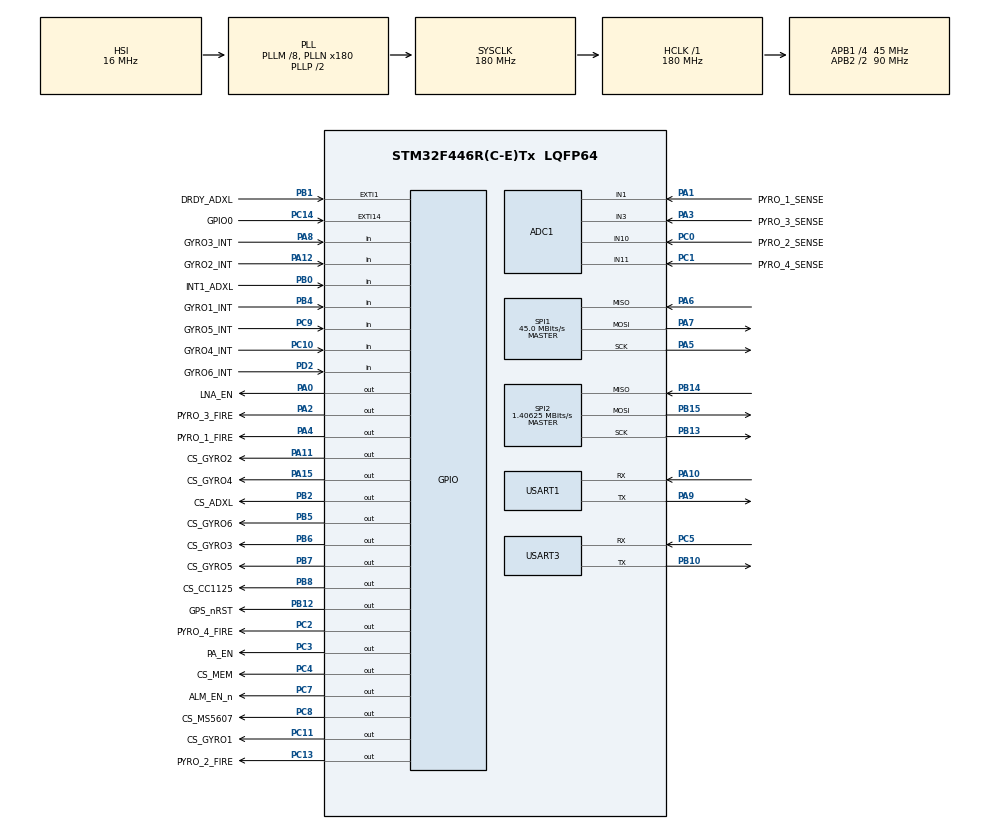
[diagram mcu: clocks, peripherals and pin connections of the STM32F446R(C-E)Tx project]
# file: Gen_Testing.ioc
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ADC1.Channel-244\#ChannelRegularConversion=ADC_CHANNEL_3
ADC1.NbrOfConversionFlag=1
ADC1.Rank-244\#ChannelRegularConversion=1
ADC1.SamplingTime-244\#ChannelRegularConversion=ADC_SAMPLETIME_3CYCLES
ADC1.master=1
Mcu.Family=STM32F4
Mcu.Name=STM32F446R(C-E)Tx
Mcu.Package=LQFP64
NVIC.EXTI1_IRQn=true\:3\:0\:true\:false\:true\:true
NVIC.PriorityGroup=NVIC_PRIORITYGROUP_2
PA0-WKUP.GPIO_Label=LNA_EN
PA0-WKUP.Signal=GPIO_Output
PA1.GPIO_Label=PYRO_1_SENSE
PA1.Signal=ADCx_IN1
PA10.Mode=Asynchronous
PA10.Signal=USART1_RX
PA11.GPIO_Label=CS_GYRO2
PA11.Signal=GPIO_Output
PA12.GPIO_Label=GYRO2_INT
PA12.Signal=GPIO_Input
PA13.Mode=Trace_Asynchronous_SW
PA13.Signal=SYS_JTMS-SWDIO
PA14.Mode=Trace_Asynchronous_SW
PA14.Signal=SYS_JTCK-SWCLK
PA15.GPIO_Label=CS_GYRO4
PA15.Signal=GPIO_Output
PA2.GPIO_Label=PYRO_3_FIRE
PA2.Signal=GPIO_Output
PA3.GPIO_Label=PYRO_3_SENSE
PA3.Signal=ADCx_IN3
PA4.GPIO_Label=PYRO_1_FIRE
PA4.Signal=GPIO_Output
PA5.Mode=Full_Duplex_Master
PA5.Signal=SPI1_SCK
PA6.Mode=Full_Duplex_Master
PA6.Signal=SPI1_MISO
PA7.Mode=Full_Duplex_Master
PA7.Signal=SPI1_MOSI
PA8.GPIO_Label=GYRO3_INT
PA8.GPIO_Mode=GPIO_MODE_INPUT
PA8.Signal=GPIO_Input
PA9.Mode=Asynchronous
PA9.Signal=USART1_TX
PB0.GPIO_Label=INT1_ADXL
PB0.Signal=GPIO_Input
PB1.GPIO_Label=DRDY_ADXL
PB1.Signal=GPXTI1
PB10.Mode=Asynchronous
PB10.Signal=USART3_TX
PB12.GPIO_Label=GPS_nRST
PB12.Signal=GPIO_Output
PB13.Mode=Full_Duplex_Master
PB13.Signal=SPI2_SCK
PB14.Mode=Full_Duplex_Master
PB14.Signal=SPI2_MISO
PB15.Mode=Full_Duplex_Master
PB15.Signal=SPI2_MOSI
PB2.GPIO_Label=CS_ADXL
PB2.Signal=GPIO_Output
PB3.Mode=Trace_Asynchronous_SW
PB3.Signal=SYS_JTDO-SWO
PB4.GPIO_Label=GYRO1_INT
PB4.Signal=GPIO_Input
PB5.GPIO_Label=CS_GYRO6
PB5.Signal=GPIO_Output
PB6.GPIO_Label=CS_GYRO3
PB6.Signal=GPIO_Output
PB7.GPIO_Label=CS_GYRO5
PB7.Signal=GPIO_Output
PB8.GPIO_Label=CS_CC1125
PB8.Signal=GPIO_Output
PC0.GPIO_Label=PYRO_2_SENSE
PC0.Signal=ADCx_IN10
PC1.GPIO_Label=PYRO_4_SENSE
PC1.Signal=ADCx_IN11
PC10.GPIO_Label=GYRO4_INT
PC10.Signal=GPIO_Input
PC11.GPIO_Label=CS_GYRO1
PC11.Signal=GPIO_Output
PC13.GPIO_Label=PYRO_2_FIRE
PC13.Signal=GPIO_Output
PC14-OSC32_IN.GPIO_Label=GPIO0
PC14-OSC32_IN.Signal=GPXTI14
PC2.GPIO_Label=PYRO_4_FIRE
PC2.Signal=GPIO_Output
PC3.GPIO_Label=PA_EN
PC3.Signal=GPIO_Output
PC4.GPIO_Label=CS_MEM
PC4.Signal=GPIO_Output
PC5.Mode=Asynchronous
PC5.Signal=USART3_RX
PC7.GPIO_Label=ALM_EN_n
PC7.Signal=GPIO_Output
PC8.GPIO_Label=CS_MS5607
PC8.Signal=GPIO_Output
PC9.GPIO_Label=GYRO5_INT
PC9.Signal=GPIO_Input
PD2.GPIO_Label=GYRO6_INT
PD2.Signal=GPIO_Input
ProjectManager.HeapSize=0x200
ProjectManager.StackSize=0x400
ProjectManager.TargetToolchain=Other Toolchains (GPDSC)
RCC.AHBFreq_Value=180000000
RCC.APB1CLKDivider=RCC_HCLK_DIV4
RCC.APB1Freq_Value=45000000
RCC.APB1TimFreq_Value=90000000
RCC.APB2CLKDivider=RCC_HCLK_DIV2
RCC.APB2Freq_Value=90000000
RCC.APB2TimFreq_Value=180000000
RCC.CortexFreq_Value=180000000
RCC.FLatency=FLASH_LATENCY_5
RCC.HCLKFreq_Value=180000000
RCC.PLLM=8
RCC.PLLN=180
RCC.PWREXT_OverDrive=PWREXT_OverDrive_ACTIVATED
RCC.PWR_Regulator_Voltage_Scale=PWR_REGULATOR_VOLTAGE_SCALE1
RCC.SYSCLKFreq_VALUE=180000000
RCC.SYSCLKSource=RCC_SYSCLKSOURCE_PLLCLK
RCC.USBFreq_Value=180000000
RCC.VCOOutputFreq_Value=360000000
SH.ADCx_IN1.0=ADC1_IN1,IN1
SH.ADCx_IN10.0=ADC1_IN10,IN10
SH.ADCx_IN11.0=ADC1_IN11,IN11
SH.ADCx_IN3.0=ADC1_IN3,IN3
SPI1.CalculateBaudRate=45.0 MBits/s
SPI1.Direction=SPI_DIRECTION_2LINES
SPI1.Mode=SPI_MODE_MASTER
SPI1.VirtualType=VM_MASTER
SPI2.BaudRatePrescaler=SPI_BAUDRATEPRESCALER_32
SPI2.CalculateBaudRate=1.40625 MBits/s
SPI2.Direction=SPI_DIRECTION_2LINES
SPI2.Mode=SPI_MODE_MASTER
SPI2.VirtualType=VM_MASTER
USART1.VirtualMode=VM_ASYNC
USART3.VirtualMode=VM_ASYNC
board=Gen_Testing

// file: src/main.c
/**
  ******************************************************************************
  * File Name          : main.c
  * Description        : Main program body
  ******************************************************************************
  ** This notice applies to any and all portions of this file
  * that are not between comment pairs USER CODE BEGIN and
  * USER CODE END. Other portions of this file, whether
  * inserted by the user or by software development tools
  * are owned by their respective copyright owners.
  *
  * COPYRIGHT(c) 2017 STMicroelectronics
  *
  * Redistribution and use in source and binary forms, with or without modification,
  * are permitted provided that the following conditions are met:
  *   1. Redistributions of source code must retain the above copyright notice,
  *      this list of conditions and the following disclaimer.
  *   2. Redistributions in binary form must reproduce the above copyright notice,
  *      this list of conditions and the following disclaimer in the documentation
  *      and/or other materials provided with the distribution.
  *   3. Neither the name of STMicroelectronics nor the names of its contributors
  *      may be used to endorse or promote products derived from this software
  *      without specific prior written permission.
  *
  * THIS SOFTWARE IS PROVIDED BY THE COPYRIGHT HOLDERS AND CONTRIBUTORS "AS IS"
  * AND ANY EXPRESS OR IMPLIED WARRANTIES, INCLUDING, BUT NOT LIMITED TO, THE
  * IMPLIED WARRANTIES OF MERCHANTABILITY AND FITNESS FOR A PARTICULAR PURPOSE ARE
  * DISCLAIMED. IN NO EVENT SHALL THE COPYRIGHT HOLDER OR CONTRIBUTORS BE LIABLE
  * FOR ANY DIRECT, INDIRECT, INCIDENTAL, SPECIAL, EXEMPLARY, OR CONSEQUENTIAL
  * DAMAGES (INCLUDING, BUT NOT LIMITED TO, PROCUREMENT OF SUBSTITUTE GOODS OR
  * SERVICES; LOSS OF USE, DATA, OR PROFITS; OR BUSINESS INTERRUPTION) HOWEVER
  * CAUSED AND ON ANY THEORY OF LIABILITY, WHETHER IN CONTRACT, STRICT LIABILITY,
  * OR TORT (INCLUDING NEGLIGENCE OR OTHERWISE) ARISING IN ANY WAY OUT OF THE USE
  * OF THIS SOFTWARE, EVEN IF ADVISED OF THE POSSIBILITY OF SUCH DAMAGE.
  *
  ******************************************************************************
  */

#include "main.h"
#include "stm32f4xx_hal.h"

/* USER CODE BEGIN Includes */
#include "stm32f4xx_it.h"
#include "ADXL357.h"
#include "CC1125.h"
/* USER CODE END Includes */

ADC_HandleTypeDef hadc1;

SPI_HandleTypeDef hspi1;
SPI_HandleTypeDef hspi2;

UART_HandleTypeDef huart1;
UART_HandleTypeDef huart3;

/* USER CODE BEGIN PV */
/* Private variables ---------------------------------------------------------*/

/* USER CODE END PV */

void SystemClock_Config(void);
static void MX_GPIO_Init(void);
static void MX_SPI2_Init(void);
static void MX_USART1_UART_Init(void);
static void MX_USART3_UART_Init(void);
static void MX_SPI1_Init(void);
static void MX_ADC1_Init(void);

/* USER CODE BEGIN PFP */
/* Private function prototypes -----------------------------------------------*/

/* USER CODE END PFP */

/* USER CODE BEGIN 0 */
//void EXT1_IRQHandler(void){
//  if(__HAL_GPIO_EXTI_GET_FLAG(GPIO_PIN_1)){
//      HAL_GPIO_TogglePin(PYRO_3_FIRE_GPIO_Port, PYRO_3_FIRE_Pin);
//  }
//}
/* USER CODE END 0 */

int main(void)
{

  /* MCU Configuration----------------------------------------------------------*/

  /* Reset of all peripherals, Initializes the Flash interface and the Systick. */
  HAL_Init();

  /* Configure the system clock */
  SystemClock_Config();

  /* Initialize all configured peripherals */
  MX_GPIO_Init();
  MX_SPI2_Init();
  MX_USART1_UART_Init();
  MX_USART3_UART_Init();
  MX_SPI1_Init();
  MX_ADC1_Init();

  /* USER CODE BEGIN 2 */

  _CC1125 Radio;
  Radio.CS_Port = CS_CC1125_GPIO_Port;
  Radio.Pin = CS_CC1125_Pin;
  Radio.spi = &hspi1;

  HAL_GPIO_WritePin(CS_ADXL_GPIO_Port, CS_ADXL_Pin, SET);
  HAL_GPIO_WritePin(CS_GYRO1_GPIO_Port, CS_GYRO1_Pin, SET);
  HAL_GPIO_WritePin(CS_GYRO2_GPIO_Port, CS_GYRO2_Pin, SET);
  HAL_GPIO_WritePin(CS_GYRO3_GPIO_Port, CS_GYRO3_Pin, SET);
  HAL_GPIO_WritePin(CS_GYRO4_GPIO_Port, CS_GYRO4_Pin, SET);
  HAL_GPIO_WritePin(CS_GYRO5_GPIO_Port, CS_GYRO5_Pin, SET);
  HAL_GPIO_WritePin(CS_GYRO6_GPIO_Port, CS_GYRO6_Pin, SET);
  HAL_GPIO_WritePin(CS_MS5607_GPIO_Port, CS_MS5607_Pin, SET);
  HAL_GPIO_WritePin(CS_MEM_GPIO_Port, CS_MEM_Pin, SET);
  HAL_GPIO_WritePin(CS_CC1125_GPIO_Port, CS_CC1125_Pin, SET);
  HAL_GPIO_WritePin(GPS_nRST_GPIO_Port, GPS_nRST_Pin, SET);

  //ADXL test code to read ID reg
//  uint8_t pTxData[3] = {0, 0, 0};
//  uint8_t pRxData[3] = {0, 0, 0};
//  pTxData[0] = 0b00000001;
//  HAL_GPIO_WritePin(CS_ADXL_GPIO_Port, CS_ADXL_Pin, GPIO_PIN_RESET);
//  HAL_SPI_TransmitReceive(&hspi2, pTxData, pRxData, 3, 0xFFFF);
//  HAL_GPIO_WritePin(CS_ADXL_GPIO_Port, CS_ADXL_Pin, GPIO_PIN_SET);
//  HAL_Delay(100);
//  ADXL357_Init();

  //Set PA/LNA and Ant Switch
  HAL_GPIO_WritePin(PA_EN_GPIO_Port, PA_EN_Pin, SET);
  HAL_GPIO_WritePin(LNA_EN_GPIO_Port, LNA_EN_Pin, RESET);

  volatile uint8_t num_bytes = 0;
  uint8_t RST = SRES;
  uint8_t TX = STX;
  CC1125_Cmd(&RST, &Radio);
  HAL_Delay(100);
  CC1125_Cmd(&RST, &Radio);
  HAL_Delay(100);
  num_bytes = CC1125_FIFO_NUM_TXBYTES(&Radio);
  CC1125_Cfg(&Radio);

  /* USER CODE END 2 */

  /* Infinite loop */
  /* USER CODE BEGIN WHILE */
  while (1){
    num_bytes = CC1125_FIFO_NUM_TXBYTES(&Radio);
    CC1125_TxFIFO(0x03, &Radio);
    CC1125_TxFIFO(0x03, &Radio);
    CC1125_TxFIFO(0x05, &Radio);
    CC1125_TxFIFO(0x06, &Radio);
    num_bytes = CC1125_FIFO_NUM_TXBYTES(&Radio);
    HAL_Delay(50);
    CC1125_Cmd(&TX, &Radio);
    HAL_Delay(50);
    num_bytes = CC1125_FIFO_NUM_TXBYTES(&Radio);
    HAL_Delay(250);
  /* USER CODE END WHILE */

  }

}

/** System Clock Configuration
*/
void SystemClock_Config(void)
{

  RCC_OscInitTypeDef RCC_OscInitStruct;
  RCC_ClkInitTypeDef RCC_ClkInitStruct;

    /**Configure the main internal regulator output voltage
    */
  __HAL_RCC_PWR_CLK_ENABLE();

  __HAL_PWR_VOLTAGESCALING_CONFIG(PWR_REGULATOR_VOLTAGE_SCALE1);

    /**Initializes the CPU, AHB and APB busses clocks
    */
  RCC_OscInitStruct.OscillatorType = RCC_OSCILLATORTYPE_HSI;
  RCC_OscInitStruct.HSIState = RCC_HSI_ON;
  RCC_OscInitStruct.HSICalibrationValue = 16;
  RCC_OscInitStruct.PLL.PLLState = RCC_PLL_ON;
  RCC_OscInitStruct.PLL.PLLSource = RCC_PLLSOURCE_HSI;
  RCC_OscInitStruct.PLL.PLLM = 8;
  RCC_OscInitStruct.PLL.PLLN = 180;
  RCC_OscInitStruct.PLL.PLLP = RCC_PLLP_DIV2;
  RCC_OscInitStruct.PLL.PLLQ = 2;
  RCC_OscInitStruct.PLL.PLLR = 2;
  if (HAL_RCC_OscConfig(&RCC_OscInitStruct) != HAL_OK)
  {
    //_Error_Handler(__FILE__, __LINE__);
  }

    /**Activate the Over-Drive mode
    */
  if (HAL_PWREx_EnableOverDrive() != HAL_OK)
  {
    _Error_Handler(__FILE__, __LINE__);
  }

    /**Initializes the CPU, AHB and APB busses clocks
    */
  RCC_ClkInitStruct.ClockType = RCC_CLOCKTYPE_HCLK|RCC_CLOCKTYPE_SYSCLK
                              |RCC_CLOCKTYPE_PCLK1|RCC_CLOCKTYPE_PCLK2;
  RCC_ClkInitStruct.SYSCLKSource = RCC_SYSCLKSOURCE_PLLCLK;
  RCC_ClkInitStruct.AHBCLKDivider = RCC_SYSCLK_DIV1;
  RCC_ClkInitStruct.APB1CLKDivider = RCC_HCLK_DIV4;
  RCC_ClkInitStruct.APB2CLKDivider = RCC_HCLK_DIV2;

  if (HAL_RCC_ClockConfig(&RCC_ClkInitStruct, FLASH_LATENCY_5) != HAL_OK)
  {
    _Error_Handler(__FILE__, __LINE__);
  }

    /**Configure the Systick interrupt time
    */
  HAL_SYSTICK_Config(HAL_RCC_GetHCLKFreq()/1000);

    /**Configure the Systick
    */
  HAL_SYSTICK_CLKSourceConfig(SYSTICK_CLKSOURCE_HCLK);

  /* SysTick_IRQn interrupt configuration */
  HAL_NVIC_SetPriority(SysTick_IRQn, 0, 0);
}

/* ADC1 init function */
static void MX_ADC1_Init(void)
{

  ADC_ChannelConfTypeDef sConfig;

    /**Configure the global features of the ADC (Clock, Resolution, Data Alignment and number of conversion)
    */
  hadc1.Instance = ADC1;
  hadc1.Init.ClockPrescaler = ADC_CLOCK_SYNC_PCLK_DIV4;
  hadc1.Init.Resolution = ADC_RESOLUTION_12B;
  hadc1.Init.ScanConvMode = DISABLE;
  hadc1.Init.ContinuousConvMode = DISABLE;
  hadc1.Init.DiscontinuousConvMode = DISABLE;
  hadc1.Init.ExternalTrigConvEdge = ADC_EXTERNALTRIGCONVEDGE_NONE;
  hadc1.Init.ExternalTrigConv = ADC_SOFTWARE_START;
  hadc1.Init.DataAlign = ADC_DATAALIGN_RIGHT;
  hadc1.Init.NbrOfConversion = 1;
  hadc1.Init.DMAContinuousRequests = DISABLE;
  hadc1.Init.EOCSelection = ADC_EOC_SINGLE_CONV;
  if (HAL_ADC_Init(&hadc1) != HAL_OK)
  {
    _Error_Handler(__FILE__, __LINE__);
  }

    /**Configure for the selected ADC regular channel its corresponding rank in the sequencer and its sample time.
    */
  sConfig.Channel = ADC_CHANNEL_3;
  sConfig.Rank = 1;
  sConfig.SamplingTime = ADC_SAMPLETIME_3CYCLES;
  if (HAL_ADC_ConfigChannel(&hadc1, &sConfig) != HAL_OK)
  {
    _Error_Handler(__FILE__, __LINE__);
  }

}

/* SPI1 init function */
static void MX_SPI1_Init(void)
{

  /* SPI1 parameter configuration*/
  hspi1.Instance = SPI1;
  hspi1.Init.Mode = SPI_MODE_MASTER;
  hspi1.Init.Direction = SPI_DIRECTION_2LINES;
  hspi1.Init.DataSize = SPI_DATASIZE_8BIT;
  hspi1.Init.CLKPolarity = SPI_POLARITY_LOW;
  hspi1.Init.CLKPhase = SPI_PHASE_1EDGE;
  hspi1.Init.NSS = SPI_NSS_SOFT;
  hspi1.Init.BaudRatePrescaler = SPI_BAUDRATEPRESCALER_128;
  hspi1.Init.FirstBit = SPI_FIRSTBIT_MSB;
  hspi1.Init.TIMode = SPI_TIMODE_DISABLE;
  hspi1.Init.CRCCalculation = SPI_CRCCALCULATION_DISABLE;
  hspi1.Init.CRCPolynomial = 10;
  if (HAL_SPI_Init(&hspi1) != HAL_OK)
  {
    _Error_Handler(__FILE__, __LINE__);
  }

}

/* SPI2 init function */
static void MX_SPI2_Init(void)
{

  /* SPI2 parameter configuration*/
  hspi2.Instance = SPI2;
  hspi2.Init.Mode = SPI_MODE_MASTER;
  hspi2.Init.Direction = SPI_DIRECTION_2LINES;
  hspi2.Init.DataSize = SPI_DATASIZE_8BIT;
  hspi2.Init.CLKPolarity = SPI_POLARITY_LOW;
  hspi2.Init.CLKPhase = SPI_PHASE_1EDGE;
  hspi2.Init.NSS = SPI_NSS_SOFT;
  hspi2.Init.BaudRatePrescaler = SPI_BAUDRATEPRESCALER_32;
  hspi2.Init.FirstBit = SPI_FIRSTBIT_MSB;
  hspi2.Init.TIMode = SPI_TIMODE_DISABLE;
  hspi2.Init.CRCCalculation = SPI_CRCCALCULATION_DISABLE;
  hspi2.Init.CRCPolynomial = 10;
  if (HAL_SPI_Init(&hspi2) != HAL_OK)
  {
    _Error_Handler(__FILE__, __LINE__);
  }

}

/* USART1 init function */
static void MX_USART1_UART_Init(void)
{

  huart1.Instance = USART1;
  huart1.Init.BaudRate = 115200;
  huart1.Init.WordLength = UART_WORDLENGTH_8B;
  huart1.Init.StopBits = UART_STOPBITS_1;
  huart1.Init.Parity = UART_PARITY_NONE;
  huart1.Init.Mode = UART_MODE_TX_RX;
  huart1.Init.HwFlowCtl = UART_HWCONTROL_NONE;
  huart1.Init.OverSampling = UART_OVERSAMPLING_16;
  if (HAL_UART_Init(&huart1) != HAL_OK)
  {
    _Error_Handler(__FILE__, __LINE__);
  }

}

/* USART3 init function */
static void MX_USART3_UART_Init(void)
{

  huart3.Instance = USART3;
  huart3.Init.BaudRate = 115200;
  huart3.Init.WordLength = UART_WORDLENGTH_8B;
  huart3.Init.StopBits = UART_STOPBITS_1;
  huart3.Init.Parity = UART_PARITY_NONE;
  huart3.Init.Mode = UART_MODE_TX_RX;
  huart3.Init.HwFlowCtl = UART_HWCONTROL_NONE;
  huart3.Init.OverSampling = UART_OVERSAMPLING_16;
  if (HAL_UART_Init(&huart3) != HAL_OK)
  {
    _Error_Handler(__FILE__, __LINE__);
  }

}

/** Configure pins as
        * Analog
        * Input
        * Output
        * EVENT_OUT
        * EXTI
*/
static void MX_GPIO_Init(void)
{

  GPIO_InitTypeDef GPIO_InitStruct;

  /* GPIO Ports Clock Enable */
  __HAL_RCC_GPIOC_CLK_ENABLE();
  __HAL_RCC_GPIOA_CLK_ENABLE();
  __HAL_RCC_GPIOB_CLK_ENABLE();
  __HAL_RCC_GPIOD_CLK_ENABLE();

  /*Configure GPIO pin Output Level */
  HAL_GPIO_WritePin(GPIOC, PYRO_2_FIRE_Pin|PYRO_4_FIRE_Pin|PA_EN_Pin|CS_MEM_Pin
                          |CS_MS5607_Pin|CS_GYRO1_Pin, GPIO_PIN_RESET);

  /*Configure GPIO pin Output Level */
  HAL_GPIO_WritePin(GPIOA, LNA_EN_Pin|PYRO_3_FIRE_Pin|PYRO_1_FIRE_Pin|CS_GYRO2_Pin
                          |CS_GYRO4_Pin, GPIO_PIN_RESET);

  /*Configure GPIO pin Output Level */
  HAL_GPIO_WritePin(GPIOB, CS_ADXL_Pin|GPS_nRST_Pin|CS_GYRO6_Pin|CS_GYRO3_Pin
                          |CS_GYRO5_Pin|CS_CC1125_Pin, GPIO_PIN_RESET);

  /*Configure GPIO pins : PYRO_2_FIRE_Pin PYRO_4_FIRE_Pin PA_EN_Pin CS_MEM_Pin
                           CS_MS5607_Pin CS_GYRO1_Pin */
  GPIO_InitStruct.Pin = PYRO_2_FIRE_Pin|PYRO_4_FIRE_Pin|PA_EN_Pin|CS_MEM_Pin
                          |CS_MS5607_Pin|CS_GYRO1_Pin;
  GPIO_InitStruct.Mode = GPIO_MODE_OUTPUT_PP;
  GPIO_InitStruct.Pull = GPIO_NOPULL;
  GPIO_InitStruct.Speed = GPIO_SPEED_FREQ_LOW;
  HAL_GPIO_Init(GPIOC, &GPIO_InitStruct);

  /*Configure GPIO pins : LNA_EN_Pin PYRO_3_FIRE_Pin PYRO_1_FIRE_Pin CS_GYRO2_Pin
                           CS_GYRO4_Pin */
  GPIO_InitStruct.Pin = LNA_EN_Pin|PYRO_3_FIRE_Pin|PYRO_1_FIRE_Pin|CS_GYRO2_Pin
                          |CS_GYRO4_Pin;
  GPIO_InitStruct.Mode = GPIO_MODE_OUTPUT_PP;
  GPIO_InitStruct.Pull = GPIO_NOPULL;
  GPIO_InitStruct.Speed = GPIO_SPEED_FREQ_LOW;
  HAL_GPIO_Init(GPIOA, &GPIO_InitStruct);

  /*Configure GPIO pins : INT1_ADXL_Pin GYRO1_INT_Pin GPIO0_Pin */
  GPIO_InitStruct.Pin = INT1_ADXL_Pin|GYRO1_INT_Pin|GPIO0_Pin;
  GPIO_InitStruct.Mode = GPIO_MODE_INPUT;
  GPIO_InitStruct.Pull = GPIO_NOPULL;
  HAL_GPIO_Init(GPIOB, &GPIO_InitStruct);

  /*Configure GPIO pin : DRDY_ADXL_Pin */
  GPIO_InitStruct.Pin = DRDY_ADXL_Pin;
  GPIO_InitStruct.Mode = GPIO_MODE_IT_RISING;
  GPIO_InitStruct.Pull = GPIO_NOPULL;
  HAL_GPIO_Init(DRDY_ADXL_GPIO_Port, &GPIO_InitStruct);

  /*Configure GPIO pins : CS_ADXL_Pin GPS_nRST_Pin CS_GYRO6_Pin CS_GYRO3_Pin
                           CS_GYRO5_Pin CS_CC1125_Pin */
  GPIO_InitStruct.Pin = CS_ADXL_Pin|GPS_nRST_Pin|CS_GYRO6_Pin|CS_GYRO3_Pin
                          |CS_GYRO5_Pin|CS_CC1125_Pin;
  GPIO_InitStruct.Mode = GPIO_MODE_OUTPUT_PP;
  GPIO_InitStruct.Pull = GPIO_NOPULL;
  GPIO_InitStruct.Speed = GPIO_SPEED_FREQ_LOW;
  HAL_GPIO_Init(GPIOB, &GPIO_InitStruct);

  /*Configure GPIO pins : GYRO5_INT_Pin GYRO4_INT_Pin */
  GPIO_InitStruct.Pin = GYRO5_INT_Pin|GYRO4_INT_Pin;
  GPIO_InitStruct.Mode = GPIO_MODE_INPUT;
  GPIO_InitStruct.Pull = GPIO_NOPULL;
  HAL_GPIO_Init(GPIOC, &GPIO_InitStruct);

  /*Configure GPIO pins : GYRO3_INT_Pin GYRO2_INT_Pin */
  GPIO_InitStruct.Pin = GYRO3_INT_Pin|GYRO2_INT_Pin;
  GPIO_InitStruct.Mode = GPIO_MODE_INPUT;
  GPIO_InitStruct.Pull = GPIO_NOPULL;
  HAL_GPIO_Init(GPIOA, &GPIO_InitStruct);

  /*Configure GPIO pin : GYRO6_INT_Pin */
  GPIO_InitStruct.Pin = GYRO6_INT_Pin;
  GPIO_InitStruct.Mode = GPIO_MODE_INPUT;
  GPIO_InitStruct.Pull = GPIO_NOPULL;
  HAL_GPIO_Init(GYRO6_INT_GPIO_Port, &GPIO_InitStruct);

  /* EXTI interrupt init*/
  HAL_NVIC_SetPriority(EXTI1_IRQn, 3, 0);
  HAL_NVIC_EnableIRQ(EXTI1_IRQn);

}

void _Error_Handler(char * file, int line)
{
  while(1)
  {
  }
}

/************************ (C) COPYRIGHT STMicroelectronics *****END OF FILE****/
